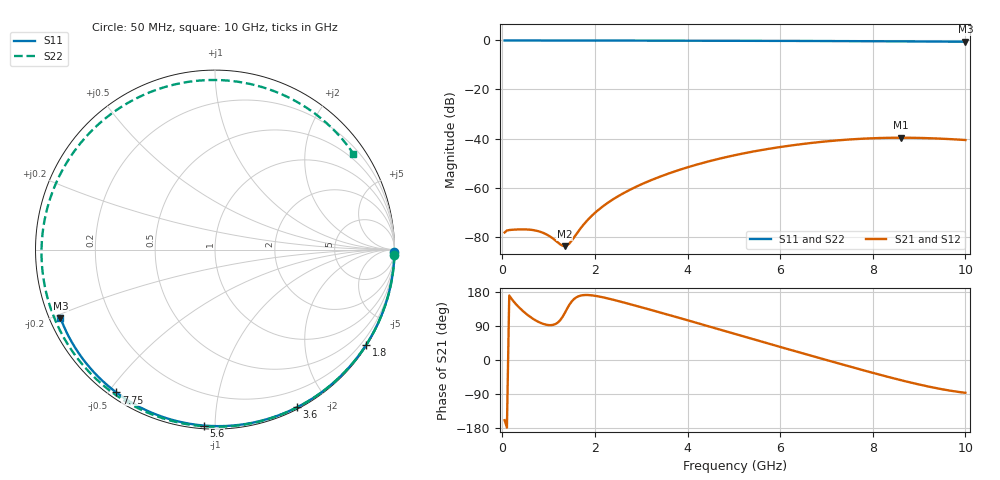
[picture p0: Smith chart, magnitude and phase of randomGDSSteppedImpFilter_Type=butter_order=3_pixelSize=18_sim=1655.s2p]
! freq	dB(S11)	phase(S11)	dB(S12)	phase(S12)
!  dB(S21)	phase(S21)	dB(S22)	phase(S22)
!S-par simulation data
#  GHz  S  DB  R 50
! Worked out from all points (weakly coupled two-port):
!   200 points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, 50 MHz to 10 GHz, reference 50 ohm
!   highest |S21| = -39.67 dB at 8.6 GHz (marker M1); lowest = -83.9 dB at 1.35 GHz (marker M2)
!   lowest |S11| = -0.5 dB at 10 GHz (marker M3), VSWR 33.15, Z = 1.58 - j10.5 ohm
!   |S11| at or under -10 dB: nowhere
!   |S22| runs from -0.6 to 0.0 dB; largest |S21 - S12| = 0
!   S11 on the Smith chart (normalised r, x): 50 MHz: open; 1.8 GHz: 0.03, -3.47; 3.6 GHz: 0.02, -1.65; 5.6 GHz: 0.02, -0.94; 7.75 GHz: 0.02, -0.52; 10 GHz: 0.03, -0.21
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0.05  -0.00 -0.9  -78.32 -158.8  -78.32 -158.8  -0.00 -1.6
0.55  -0.01 -9.9  -77.11 118.5  -77.11 118.5  -0.02 -17.8
1.05  -0.02 -18.9  -80.20 92.0  -80.20 92.0  -0.04 -33.8
1.35  -0.03 -24.2  -83.91 124.2  -83.91 124.2  -0.05 -43.2
1.55  -0.04 -27.7  -80.30 161.0  -80.30 161.0  -0.06 -49.4
1.75  -0.04 -31.3  -75.22 171.2  -75.22 171.2  -0.07 -55.6
1.8  -0.04 -32.1  -74.12 171.6  -74.12 171.6  -0.07 -57.1
2.1  -0.05 -37.3  -68.73 167.3  -68.73 167.3  -0.08 -66.2
2.45  -0.06 -43.3  -64.11 157.3  -64.11 157.3  -0.10 -76.7
3.4  -0.08 -59.3  -55.60 125.7  -55.60 125.7  -0.14 -104.4
3.6  -0.08 -62.5  -54.22 118.8  -54.22 118.8  -0.14 -110.1
4.3  -0.11 -73.7  -50.11 94.4  -50.11 94.4  -0.18 -129.9
5.05  -0.13 -85.4  -46.68 67.9  -46.68 67.9  -0.22 -151.1
5.6  -0.16 -93.7  -44.69 48.5  -44.69 48.5  -0.26 -166.9
6.15  -0.18 -101.8  -43.06 29.3  -43.06 29.3  -0.30 176.7
6.7  -0.21 -109.8  -41.75 10.3  -41.75 10.3  -0.35 159.5
7.2  -0.25 -116.9  -40.82 -6.9  -40.82 -6.9  -0.39 143.1
7.75  -0.29 -124.6  -40.09 -25.6  -40.09 -25.6  -0.43 123.9
8.35  -0.34 -133.0  -39.70 -45.2  -39.70 -45.2  -0.48 101.6
8.6  -0.37 -136.5  -39.67 -53.0  -39.67 -53.0  -0.49 91.9
9.3  -0.44 -146.3  -39.92 -72.5  -39.92 -72.5  -0.52 63.6
10  -0.52 -156.2  -40.61 -86.6  -40.61 -86.6  -0.55 34.8
